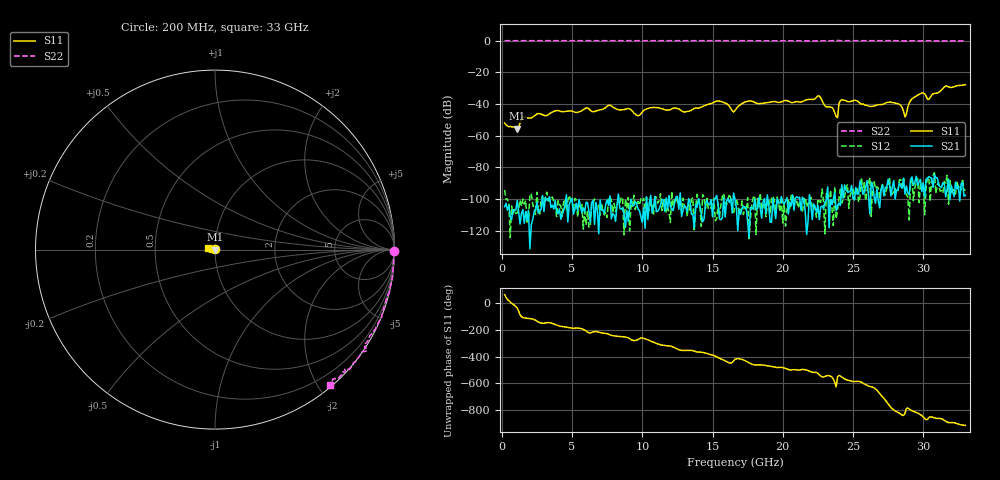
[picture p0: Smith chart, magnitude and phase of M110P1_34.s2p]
# GHZ S RI R 50
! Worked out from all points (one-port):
!   329 points, 200 MHz to 33 GHz, reference 50 ohm
!   lowest |S11| = -55.6 dB at 1.1 GHz (marker M1), VSWR 1.00, Z = 50.1 - j0.0959 ohm
!   |S11| at or under -10 dB: start of sweep to end of sweep
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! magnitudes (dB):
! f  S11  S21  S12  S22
! 200 MHz  -52.0  -105.0  -94.4  0.0
! 1.1 GHz  -55.6  -100.9  -108.8  0.0
! 1.5 GHz  -48.1  -106.7  -100.1  0.0
! 5.7 GHz  -44.2  -108.8  -103.6  0.0
! 7.7 GHz  -40.8  -98.1  -98.9  0.0
! 9.7 GHz  -47.5  -106.5  -101.5  0.0
! 11.2 GHz  -42.5  -106.3  -101.1  0.0
! 15.4 GHz  -38.1  -104.6  -102.6  0.0
! 16.6 GHz  -44.1  -100.2  -104.9  0.0
! 17.6 GHz  -38.1  -124.4  -125.2  0.0
! 22.1 GHz  -37.2  -113.0  -105.8  -0.1
! 22.6 GHz  -35.0  -113.1  -101.6  -0.1
! 23.9 GHz  -48.7  -104.6  -106.8  0.1
! 24 GHz  -40.0  -102.6  -99.9  0.1
! 24.2 GHz  -37.3  -91.1  -102.7  0.0
! 27.6 GHz  -38.8  -90.6  -86.5  0.0
! 28.4 GHz  -40.9  -91.9  -87.9  -0.1
! 28.7 GHz  -48.3  -96.9  -95.5  -0.1
! 29.1 GHz  -37.8  -87.7  -88.9  -0.1
! 29.7 GHz  -33.9  -89.4  -102.4  -0.1
! 30.4 GHz  -37.1  -85.9  -86.8  -0.1
! 33 GHz  -27.8  -97.7  -94.3  -0.1
